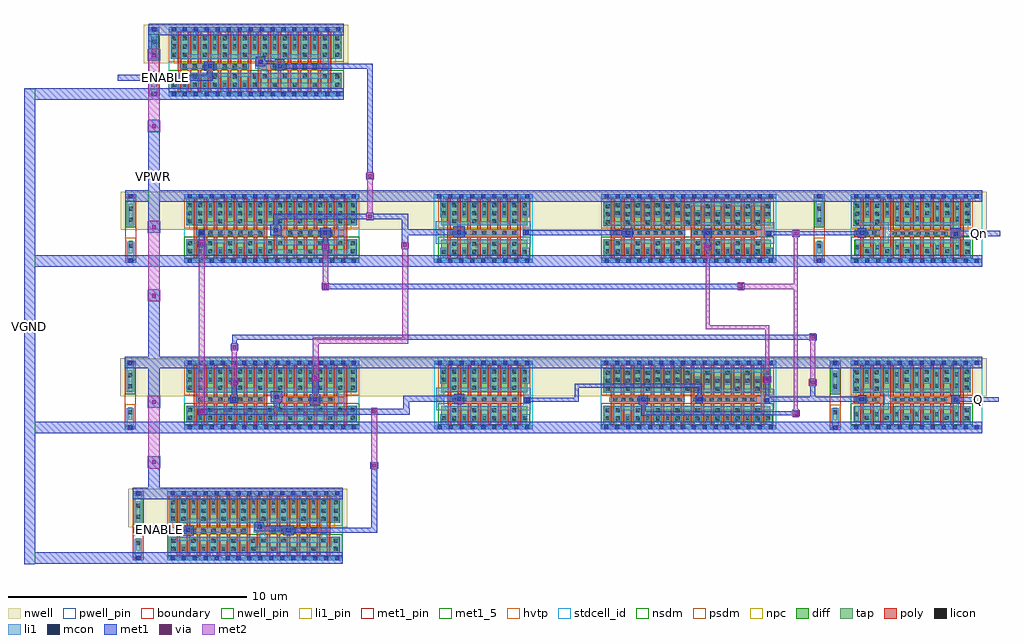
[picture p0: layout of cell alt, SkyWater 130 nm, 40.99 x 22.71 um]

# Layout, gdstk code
import gdstk
lib = gdstk.Library(unit=1e-6, precision=1e-09)
def R(c, l, rs):  # rectangles x0, y0, x1, y1
    for r in rs: c.add(gdstk.rectangle(r[:2], r[2:], *l))
def A(c, l, x, y, w, h, nx, ny, dx, dy):  # array of equal rectangles
    R(c, l, [(x+i*dx, y+j*dy, x+i*dx+w, y+j*dy+h) for i in range(nx) for j in range(ny)])
nwell_pin = (64, 16)
nwell = (64, 20)
diff = (65, 20)
tap = (65, 44)
poly = (66, 20)
licon = (66, 44)
li1_pin = (67, 16)
li1 = (67, 20)
mcon = (67, 44)
met1_5 = (68, 5)
met1_pin = (68, 16)
met1 = (68, 20)
via = (68, 44)
met2 = (69, 20)
hvtp = (78, 44)
stdcell_id = (81, 4)
nsdm = (93, 44)
psdm = (94, 20)
npc = (95, 20)
pwell_pin = (122, 16)
boundary = (235, 4)

sky130_fd_sc_hd__nand2_8 = lib.new_cell('sky130_fd_sc_hd__nand2_8')
R(sky130_fd_sc_hd__nand2_8, nwell_pin, [(0.15,2.635,0.32,2.805)])
R(sky130_fd_sc_hd__nand2_8, nwell, [(-0.19,1.305,7.55,2.91)])
R(sky130_fd_sc_hd__nand2_8, diff, [(0.135,0.235,7.225,0.885), (0.135,1.485,7.225,2.485)])
A(sky130_fd_sc_hd__nand2_8, poly, 0.395, 0.105, 0.15, 0.92, 16, 1, 0.42, 0)
A(sky130_fd_sc_hd__nand2_8, poly, 0.395, 1.295, 0.15, 1.32, 16, 1, 0.42, 0)
R(sky130_fd_sc_hd__nand2_8, poly, [(0.395,1.025,3.485,1.295), (3.755,1.025,6.845,1.295)])
A(sky130_fd_sc_hd__nand2_8, licon, 0.175, 0.315, 0.17, 0.17, 9, 1, 0.42, 0)
A(sky130_fd_sc_hd__nand2_8, licon, 4.375, 0.315, 0.17, 0.17, 3, 1, 0.84, 0)
A(sky130_fd_sc_hd__nand2_8, licon, 0.175, 0.655, 0.17, 0.17, 5, 1, 0.84, 0)
A(sky130_fd_sc_hd__nand2_8, licon, 3.955, 0.655, 0.17, 0.17, 4, 1, 0.84, 0)
A(sky130_fd_sc_hd__nand2_8, licon, 1.015, 1.075, 0.17, 0.17, 6, 1, 0.42, 0)
A(sky130_fd_sc_hd__nand2_8, licon, 4.375, 1.075, 0.17, 0.17, 5, 1, 0.42, 0)
A(sky130_fd_sc_hd__nand2_8, licon, 0.595, 1.575, 0.17, 0.17, 8, 1, 0.84, 0)
A(sky130_fd_sc_hd__nand2_8, licon, 6.995, 1.575, 0.17, 0.17, 1, 3, 0, 0.34)
A(sky130_fd_sc_hd__nand2_8, licon, 0.175, 1.915, 0.17, 0.17, 16, 2, 0.42, 0.34)
R(sky130_fd_sc_hd__nand2_8, licon, [(6.995,0.315,7.165,0.485), (6.995,0.655,7.165,0.825), (0.59,1.075,0.76,1.245), (0.175,1.575,0.345,1.745)])
A(sky130_fd_sc_hd__nand2_8, li1_pin, 0.61, 1.105, 0.17, 0.17, 6, 1, 0.46, 0)
A(sky130_fd_sc_hd__nand2_8, li1_pin, 3.83, 1.105, 0.17, 0.17, 6, 1, 0.46, 0)
R(sky130_fd_sc_hd__nand2_8, li1_pin, [(3.83,1.445,4,1.615)])
A(sky130_fd_sc_hd__nand2_8, li1, 0.595, 0.085, 0.17, 0.48, 4, 1, 0.84, 0)
A(sky130_fd_sc_hd__nand2_8, li1, 0.935, 0.255, 0.33, 0.48, 3, 1, 0.84, 0)
A(sky130_fd_sc_hd__nand2_8, li1, 0.515, 1.665, 0.33, 0.8, 8, 1, 0.84, 0)
A(sky130_fd_sc_hd__nand2_8, li1, 1.015, 1.835, 0.17, 0.8, 7, 1, 0.84, 0)
R(sky130_fd_sc_hd__nand2_8, li1, [(0,-0.085,7.36,0.085), (0.09,0.255,0.425,0.735), (3.455,0.255,7.27,0.485), (3.455,0.485,3.705,0.735), (6.895,0.485,7.27,0.905), (3.875,0.655,6.725,0.905), (0.09,0.735,3.705,0.905), (3.875,0.905,4.12,1.075), (6.475,0.905,6.725,1.465), (0.51,1.075,3.365,1.295), (3.64,1.075,4.12,1.465), (4.29,1.075,6.305,1.275), (0.515,1.465,6.725,1.665), (0.09,1.495,0.345,2.635), (6.915,1.495,7.27,2.635), (0,2.635,7.36,2.805)])
A(sky130_fd_sc_hd__nand2_8, mcon, 0.145, -0.085, 0.17, 0.17, 16, 2, 0.46, 2.72)
R(sky130_fd_sc_hd__nand2_8, met1_pin, [(0.15,-0.085,0.32,0.085), (0.15,2.635,0.32,2.805)])
R(sky130_fd_sc_hd__nand2_8, met1, [(0,-0.24,7.36,0.24), (0,2.48,7.36,2.96)])
R(sky130_fd_sc_hd__nand2_8, hvtp, [(0.215,1.305,7.025,2.665)])
R(sky130_fd_sc_hd__nand2_8, stdcell_id, [(0,0,7.36,2.72)])
R(sky130_fd_sc_hd__nand2_8, nsdm, [(0.01,0.11,7.35,1.01)])
R(sky130_fd_sc_hd__nand2_8, psdm, [(0.01,1.36,7.35,2.61)])
R(sky130_fd_sc_hd__nand2_8, npc, [(0.49,0.975,3.385,1.345), (4.275,0.975,6.325,1.345)])
R(sky130_fd_sc_hd__nand2_8, pwell_pin, [(0.15,-0.085,0.32,0.085)])
R(sky130_fd_sc_hd__nand2_8, boundary, [(0,0,7.36,2.72)])
sky130_fd_sc_hd__nand2_8.add(gdstk.Label('VNB', (0.235,0), layer=64, texttype=59))
sky130_fd_sc_hd__nand2_8.add(gdstk.Label('VPB', (0.235,2.72), layer=64, texttype=5))
sky130_fd_sc_hd__nand2_8.add(gdstk.Label('VGND', (0.235,0), layer=68, texttype=5))
sky130_fd_sc_hd__nand2_8.add(gdstk.Label('VPWR', (0.235,2.72), layer=68, texttype=5))
sky130_fd_sc_hd__nand2_8.add(gdstk.Label('A', (5.755,1.19), layer=67, texttype=5))
sky130_fd_sc_hd__nand2_8.add(gdstk.Label('A', (6.215,1.19), layer=67, texttype=5))
sky130_fd_sc_hd__nand2_8.add(gdstk.Label('A', (4.375,1.19), layer=67, texttype=5))
sky130_fd_sc_hd__nand2_8.add(gdstk.Label('A', (4.835,1.19), layer=67, texttype=5))
sky130_fd_sc_hd__nand2_8.add(gdstk.Label('A', (5.295,1.19), layer=67, texttype=5))
sky130_fd_sc_hd__nand2_8.add(gdstk.Label('Y', (3.915,1.19), layer=67, texttype=5))
sky130_fd_sc_hd__nand2_8.add(gdstk.Label('Y', (3.915,1.53), layer=67, texttype=5))
sky130_fd_sc_hd__nand2_8.add(gdstk.Label('B', (1.615,1.19), layer=67, texttype=5))
sky130_fd_sc_hd__nand2_8.add(gdstk.Label('B', (2.075,1.19), layer=67, texttype=5))
sky130_fd_sc_hd__nand2_8.add(gdstk.Label('B', (2.535,1.19), layer=67, texttype=5))
sky130_fd_sc_hd__nand2_8.add(gdstk.Label('B', (0.695,1.19), layer=67, texttype=5))
sky130_fd_sc_hd__nand2_8.add(gdstk.Label('B', (1.155,1.19), layer=67, texttype=5))
sky130_fd_sc_hd__nand2_8.add(gdstk.Label('B', (2.995,1.19), layer=67, texttype=5))

sky130_fd_sc_hd__tapvpwr = lib.new_cell('sky130_fd_sc_hd__tapvpwrvgnd_1')
R(sky130_fd_sc_hd__tapvpwr, nwell, [(-0.19,1.305,0.65,2.91)])
R(sky130_fd_sc_hd__tapvpwr, tap, [(0.145,0.32,0.315,0.845), (0.145,1.525,0.315,2.4)])
R(sky130_fd_sc_hd__tapvpwr, licon, [(0.145,0.555,0.315,0.725), (0.145,1.645,0.315,1.815), (0.145,2.11,0.315,2.28)])
R(sky130_fd_sc_hd__tapvpwr, li1, [(0,-0.085,0.46,0.085), (0.085,0.085,0.375,0.81), (0.085,1.47,0.375,2.635), (0,2.635,0.46,2.805)])
R(sky130_fd_sc_hd__tapvpwr, mcon, [(0.145,-0.085,0.315,0.085), (0.145,2.635,0.315,2.805)])
R(sky130_fd_sc_hd__tapvpwr, met1_pin, [(0.105,-0.09,0.36,0.1), (0.11,2.62,0.375,2.765)])
R(sky130_fd_sc_hd__tapvpwr, met1, [(0,-0.24,0.46,0.24), (0,2.48,0.46,2.96)])
R(sky130_fd_sc_hd__tapvpwr, nsdm, [(0.02,1.4,0.44,2.525)])
R(sky130_fd_sc_hd__tapvpwr, psdm, [(0.02,0.195,0.44,0.97)])
R(sky130_fd_sc_hd__tapvpwr, boundary, [(0,0,0.46,2.72)])
sky130_fd_sc_hd__tapvpwr.add(gdstk.Label('VPWR', (0.242,2.692), layer=68, texttype=5))
sky130_fd_sc_hd__tapvpwr.add(gdstk.Label('VGND', (0.232,0.005), layer=68, texttype=5))

sky130_fd_sc_hd__inv_8 = lib.new_cell('sky130_fd_sc_hd__inv_8')
R(sky130_fd_sc_hd__inv_8, nwell_pin, [(0.145,2.635,0.315,2.805)])
R(sky130_fd_sc_hd__inv_8, nwell, [(-0.19,1.305,4.33,2.91)])
R(sky130_fd_sc_hd__inv_8, diff, [(0.3,0.235,3.91,0.885), (0.3,1.485,3.91,2.485)])
A(sky130_fd_sc_hd__inv_8, poly, 0.56, 0.105, 0.15, 0.89, 8, 1, 0.42, 0)
A(sky130_fd_sc_hd__inv_8, poly, 0.56, 1.325, 0.15, 1.29, 8, 1, 0.42, 0)
R(sky130_fd_sc_hd__inv_8, poly, [(0.56,0.995,3.65,1.325)])
A(sky130_fd_sc_hd__inv_8, licon, 0.34, 0.295, 0.17, 0.17, 9, 2, 0.42, 1.62)
A(sky130_fd_sc_hd__inv_8, licon, 0.76, 0.635, 0.17, 0.17, 4, 2, 0.84, 0.94)
A(sky130_fd_sc_hd__inv_8, licon, 0.76, 1.075, 0.17, 0.17, 7, 1, 0.42, 0)
A(sky130_fd_sc_hd__inv_8, licon, 0.34, 2.255, 0.17, 0.17, 9, 1, 0.42, 0)
A(sky130_fd_sc_hd__inv_8, li1_pin, 1.065, 1.105, 0.17, 0.17, 7, 1, 0.46, 0)
R(sky130_fd_sc_hd__inv_8, li1_pin, [(0.145,1.105,0.315,1.275)])
A(sky130_fd_sc_hd__inv_8, li1, 1.18, 0.085, 0.17, 0.46, 3, 1, 0.84, 0)
A(sky130_fd_sc_hd__inv_8, li1, 0.68, 0.255, 0.33, 0.46, 4, 1, 0.84, 0)
A(sky130_fd_sc_hd__inv_8, li1, 0.68, 1.665, 0.33, 0.8, 4, 1, 0.84, 0)
A(sky130_fd_sc_hd__inv_8, li1, 1.18, 1.835, 0.17, 0.8, 3, 1, 0.84, 0)
R(sky130_fd_sc_hd__inv_8, li1, [(0,-0.085,4.14,0.085), (0.255,0.085,0.51,0.545), (3.7,0.085,4.005,0.545), (0.085,0.715,4.055,0.905), (0.085,0.905,0.43,1.495), (3.735,0.905,4.055,1.495), (0.68,1.075,3.535,1.325), (0.085,1.495,4.055,1.665), (0.255,1.835,0.51,2.635), (3.7,1.835,4,2.635), (0,2.635,4.14,2.805)])
A(sky130_fd_sc_hd__inv_8, mcon, 0.145, -0.085, 0.17, 0.17, 9, 2, 0.46, 2.72)
R(sky130_fd_sc_hd__inv_8, met1_pin, [(0.145,-0.085,0.315,0.085), (0.145,2.635,0.315,2.805)])
R(sky130_fd_sc_hd__inv_8, met1, [(0,-0.24,4.14,0.24), (0,2.48,4.14,2.96)])
R(sky130_fd_sc_hd__inv_8, hvtp, [(0.38,1.305,3.83,2.665)])
R(sky130_fd_sc_hd__inv_8, stdcell_id, [(0,0,4.14,2.72)])
R(sky130_fd_sc_hd__inv_8, nsdm, [(0.175,0.11,4.035,1.01)])
R(sky130_fd_sc_hd__inv_8, psdm, [(0.175,1.36,4.035,2.61)])
R(sky130_fd_sc_hd__inv_8, npc, [(0.66,0.975,3.55,1.345)])
R(sky130_fd_sc_hd__inv_8, pwell_pin, [(0.145,-0.085,0.315,0.085)])
R(sky130_fd_sc_hd__inv_8, boundary, [(0,0,4.14,2.72)])
sky130_fd_sc_hd__inv_8.add(gdstk.Label('VNB', (0.23,0), layer=64, texttype=59))
sky130_fd_sc_hd__inv_8.add(gdstk.Label('VPB', (0.23,2.72), layer=64, texttype=5))
sky130_fd_sc_hd__inv_8.add(gdstk.Label('VGND', (0.23,0), layer=68, texttype=5))
sky130_fd_sc_hd__inv_8.add(gdstk.Label('VPWR', (0.23,2.72), layer=68, texttype=5))
sky130_fd_sc_hd__inv_8.add(gdstk.Label('Y', (0.23,1.19), layer=67, texttype=5))
sky130_fd_sc_hd__inv_8.add(gdstk.Label('Y', (3.91,1.19), layer=67, texttype=5))
sky130_fd_sc_hd__inv_8.add(gdstk.Label('A', (3.45,1.19), layer=67, texttype=5))
sky130_fd_sc_hd__inv_8.add(gdstk.Label('A', (2.99,1.19), layer=67, texttype=5))
sky130_fd_sc_hd__inv_8.add(gdstk.Label('A', (2.53,1.19), layer=67, texttype=5))
sky130_fd_sc_hd__inv_8.add(gdstk.Label('A', (2.07,1.19), layer=67, texttype=5))
sky130_fd_sc_hd__inv_8.add(gdstk.Label('A', (1.61,1.19), layer=67, texttype=5))
sky130_fd_sc_hd__inv_8.add(gdstk.Label('A', (1.15,1.19), layer=67, texttype=5))

sky130_fd_sc_hd__nor2_8 = lib.new_cell('sky130_fd_sc_hd__nor2_8')
R(sky130_fd_sc_hd__nor2_8, nwell_pin, [(0.145,2.635,0.315,2.805)])
R(sky130_fd_sc_hd__nor2_8, nwell, [(-0.19,1.305,7.55,2.91)])
R(sky130_fd_sc_hd__nor2_8, diff, [(0.135,0.235,7.125,0.885), (0.135,1.485,7.135,2.485)])
A(sky130_fd_sc_hd__nor2_8, poly, 0.415, 0.105, 0.15, 0.89, 16, 1, 0.42, 0)
A(sky130_fd_sc_hd__nor2_8, poly, 0.415, 1.325, 0.15, 1.29, 16, 1, 0.42, 0)
R(sky130_fd_sc_hd__nor2_8, poly, [(0.415,0.995,3.505,1.325), (3.775,0.995,6.865,1.325)])
A(sky130_fd_sc_hd__nor2_8, licon, 0.195, 0.305, 0.17, 0.17, 17, 1, 0.42, 0)
A(sky130_fd_sc_hd__nor2_8, licon, 0.615, 0.645, 0.17, 0.17, 8, 1, 0.84, 0)
A(sky130_fd_sc_hd__nor2_8, licon, 0.515, 1.075, 0.17, 0.17, 9, 1, 0.34, 0)
A(sky130_fd_sc_hd__nor2_8, licon, 3.89, 1.075, 0.17, 0.17, 8, 1, 0.34, 0)
A(sky130_fd_sc_hd__nor2_8, licon, 0.195, 1.535, 0.17, 0.17, 5, 2, 0.84, 0.34)
A(sky130_fd_sc_hd__nor2_8, licon, 3.975, 1.535, 0.17, 0.17, 4, 1, 0.84, 0)
A(sky130_fd_sc_hd__nor2_8, licon, 3.975, 1.875, 0.17, 0.17, 8, 1, 0.42, 0)
A(sky130_fd_sc_hd__nor2_8, licon, 0.615, 1.915, 0.17, 0.17, 4, 2, 0.84, 0.34)
A(sky130_fd_sc_hd__nor2_8, licon, 0.195, 2.215, 0.17, 0.17, 9, 1, 0.84, 0)
R(sky130_fd_sc_hd__nor2_8, licon, [(0.195,0.645,0.365,0.815)])
R(sky130_fd_sc_hd__nor2_8, li1_pin, [(0.605,1.105,0.775,1.275), (4.745,1.105,4.915,1.275), (7.045,1.445,7.215,1.615)])
A(sky130_fd_sc_hd__nor2_8, li1, 1.035, 0.085, 0.17, 0.47, 7, 1, 0.84, 0)
A(sky130_fd_sc_hd__nor2_8, li1, 0.535, 0.255, 0.33, 0.47, 8, 1, 0.84, 0)
A(sky130_fd_sc_hd__nor2_8, li1, 3.935, 1.615, 0.25, 0.51, 4, 1, 0.84, 0)
A(sky130_fd_sc_hd__nor2_8, li1, 0.995, 1.665, 0.25, 0.8, 3, 1, 0.84, 0)
A(sky130_fd_sc_hd__nor2_8, li1, 4.355, 1.785, 0.25, 0.51, 4, 1, 0.84, 0)
A(sky130_fd_sc_hd__nor2_8, li1, 0.575, 1.835, 0.25, 0.8, 4, 1, 0.84, 0)
R(sky130_fd_sc_hd__nor2_8, li1, [(0,-0.085,7.36,0.085), (0.09,0.085,0.365,0.905), (6.915,0.085,7.205,0.555), (0.535,0.725,7.275,0.905), (6.71,0.905,7.275,1.445), (0.36,1.075,3.53,1.275), (3.8,1.075,6.54,1.275), (3.935,1.445,7.275,1.615), (0.09,1.455,3.765,1.665), (0.09,1.665,0.405,2.465), (3.515,1.665,3.765,2.295), (3.515,2.295,7.125,2.465), (0,2.635,7.36,2.805)])
A(sky130_fd_sc_hd__nor2_8, mcon, 0.145, -0.085, 0.17, 0.17, 16, 2, 0.46, 2.72)
R(sky130_fd_sc_hd__nor2_8, met1_pin, [(0.145,-0.085,0.315,0.085), (0.145,2.635,0.315,2.805)])
R(sky130_fd_sc_hd__nor2_8, met1, [(0,-0.24,7.36,0.24), (0,2.48,7.36,2.96)])
R(sky130_fd_sc_hd__nor2_8, hvtp, [(0.235,1.305,7.045,2.665)])
R(sky130_fd_sc_hd__nor2_8, stdcell_id, [(0,0,7.36,2.72)])
R(sky130_fd_sc_hd__nor2_8, nsdm, [(0.01,0.11,7.25,1.01)])
R(sky130_fd_sc_hd__nor2_8, psdm, [(0.01,1.36,7.26,2.61)])
R(sky130_fd_sc_hd__nor2_8, npc, [(0.415,0.975,3.505,1.345), (3.79,0.975,6.54,1.345)])
R(sky130_fd_sc_hd__nor2_8, pwell_pin, [(0.145,-0.085,0.315,0.085)])
R(sky130_fd_sc_hd__nor2_8, boundary, [(0,0,7.36,2.72)])
sky130_fd_sc_hd__nor2_8.add(gdstk.Label('VPB', (0.23,2.72), layer=64, texttype=5))
sky130_fd_sc_hd__nor2_8.add(gdstk.Label('VNB', (0.23,0), layer=64, texttype=59))
sky130_fd_sc_hd__nor2_8.add(gdstk.Label('VGND', (0.23,0), layer=68, texttype=5))
sky130_fd_sc_hd__nor2_8.add(gdstk.Label('VPWR', (0.23,2.72), layer=68, texttype=5))
sky130_fd_sc_hd__nor2_8.add(gdstk.Label('A', (0.69,1.19), layer=67, texttype=5))
sky130_fd_sc_hd__nor2_8.add(gdstk.Label('B', (4.83,1.19), layer=67, texttype=5))
sky130_fd_sc_hd__nor2_8.add(gdstk.Label('Y', (7.13,1.53), layer=67, texttype=5))

sky130_fd_sc_hd__buf_8 = lib.new_cell('sky130_fd_sc_hd__buf_8')
R(sky130_fd_sc_hd__buf_8, nwell_pin, [(0.15,2.635,0.32,2.805)])
R(sky130_fd_sc_hd__buf_8, nwell, [(-0.19,1.305,5.71,2.91)])
R(sky130_fd_sc_hd__buf_8, diff, [(0.135,0.235,5.005,0.885), (0.135,1.485,5.005,2.485)])
A(sky130_fd_sc_hd__buf_8, poly, 0.815, 0.105, 0.15, 0.92, 10, 1, 0.42, 0)
A(sky130_fd_sc_hd__buf_8, poly, 0.815, 1.295, 0.15, 1.32, 10, 1, 0.42, 0)
R(sky130_fd_sc_hd__buf_8, poly, [(0.395,0.105,0.545,1.015), (0.14,1.015,0.545,1.025), (0.14,1.025,1.385,1.295), (1.655,1.025,4.745,1.295), (0.14,1.295,0.545,1.305), (0.395,1.305,0.545,2.615)])
A(sky130_fd_sc_hd__buf_8, licon, 0.595, 0.315, 0.17, 0.17, 5, 1, 0.84, 0)
A(sky130_fd_sc_hd__buf_8, licon, 0.175, 0.475, 0.17, 0.17, 6, 1, 0.84, 0)
A(sky130_fd_sc_hd__buf_8, licon, 0.22, 1.075, 0.17, 0.17, 3, 1, 0.34, 0)
A(sky130_fd_sc_hd__buf_8, licon, 1.755, 1.075, 0.17, 0.17, 7, 1, 0.34, 0)
A(sky130_fd_sc_hd__buf_8, licon, 0.175, 1.545, 0.17, 0.17, 1, 3, 0, 0.34)
A(sky130_fd_sc_hd__buf_8, licon, 1.015, 1.545, 0.17, 0.17, 1, 3, 0, 0.34)
A(sky130_fd_sc_hd__buf_8, licon, 1.855, 1.67, 0.17, 0.17, 4, 2, 0.84, 0.475)
A(sky130_fd_sc_hd__buf_8, licon, 0.595, 1.915, 0.17, 0.17, 6, 2, 0.84, 0.34)
R(sky130_fd_sc_hd__buf_8, licon, [(4.795,0.295,4.965,0.465), (4.795,0.635,4.965,0.805), (4.795,1.575,4.965,1.745)])
A(sky130_fd_sc_hd__buf_8, li1_pin, 4.29, 0.765, 0.17, 0.17, 1, 3, 0, 0.34)
A(sky130_fd_sc_hd__buf_8, li1_pin, 0.15, 1.105, 0.17, 0.17, 3, 1, 0.46, 0)
R(sky130_fd_sc_hd__buf_8, li1_pin, [(0.15,-0.085,0.32,0.085), (0.15,2.635,0.32,2.805)])
A(sky130_fd_sc_hd__buf_8, li1, 0.515, 0.085, 0.33, 0.48, 5, 1, 0.84, 0)
A(sky130_fd_sc_hd__buf_8, li1, 1.855, 0.255, 0.17, 0.48, 4, 1, 0.84, 0)
A(sky130_fd_sc_hd__buf_8, li1, 1.855, 1.615, 0.17, 0.85, 4, 1, 0.84, 0)
A(sky130_fd_sc_hd__buf_8, li1, 2.195, 1.835, 0.33, 0.8, 3, 1, 0.84, 0)
R(sky130_fd_sc_hd__buf_8, li1, [(0,-0.085,5.52,0.085), (4.715,0.085,5.045,0.885), (0.175,0.255,0.345,0.735), (1.015,0.26,1.185,0.735), (0.175,0.735,1.595,0.905), (1.855,0.735,4.545,0.905), (1.42,0.905,1.595,1.075), (4.29,0.905,4.545,1.445), (0.14,1.075,1.24,1.275), (1.42,1.075,4.045,1.245), (1.42,1.245,1.595,1.445), (0.095,1.445,1.595,1.615), (1.855,1.445,4.545,1.615), (4.715,1.485,5.045,2.635), (0.095,1.615,0.425,2.465), (0.935,1.615,1.265,2.465), (0.595,1.835,0.765,2.635), (1.435,1.835,1.605,2.635), (0,2.635,5.52,2.805)])
A(sky130_fd_sc_hd__buf_8, mcon, 0.145, -0.085, 0.17, 0.17, 12, 2, 0.46, 2.72)
R(sky130_fd_sc_hd__buf_8, met1_pin, [(0.15,-0.085,0.32,0.085), (0.15,2.635,0.32,2.805)])
R(sky130_fd_sc_hd__buf_8, met1, [(0,-0.24,5.52,0.24), (0,2.48,5.52,2.96)])
R(sky130_fd_sc_hd__buf_8, hvtp, [(0.215,1.305,4.925,2.665)])
R(sky130_fd_sc_hd__buf_8, stdcell_id, [(0,0,5.52,2.72)])
R(sky130_fd_sc_hd__buf_8, nsdm, [(0.01,0.11,5.13,1.01)])
R(sky130_fd_sc_hd__buf_8, psdm, [(0.01,1.36,5.13,2.61)])
R(sky130_fd_sc_hd__buf_8, npc, [(0.12,0.975,1.17,1.345), (1.655,0.975,4.065,1.345)])
R(sky130_fd_sc_hd__buf_8, pwell_pin, [(0.15,-0.085,0.32,0.085)])
R(sky130_fd_sc_hd__buf_8, boundary, [(0,0,5.52,2.72)])
sky130_fd_sc_hd__buf_8.add(gdstk.Label('VPB', (0.235,2.72), layer=64, texttype=5))
sky130_fd_sc_hd__buf_8.add(gdstk.Label('VNB', (0.235,0), layer=64, texttype=59))
sky130_fd_sc_hd__buf_8.add(gdstk.Label('VGND', (0.235,0), layer=68, texttype=5))
sky130_fd_sc_hd__buf_8.add(gdstk.Label('VGND', (0.235,0), layer=67, texttype=5))
sky130_fd_sc_hd__buf_8.add(gdstk.Label('VPWR', (0.235,2.72), layer=68, texttype=5))
sky130_fd_sc_hd__buf_8.add(gdstk.Label('VPWR', (0.235,2.72), layer=67, texttype=5))
sky130_fd_sc_hd__buf_8.add(gdstk.Label('A', (0.235,1.19), layer=67, texttype=5))
sky130_fd_sc_hd__buf_8.add(gdstk.Label('A', (0.695,1.19), layer=67, texttype=5))
sky130_fd_sc_hd__buf_8.add(gdstk.Label('A', (1.155,1.19), layer=67, texttype=5))
sky130_fd_sc_hd__buf_8.add(gdstk.Label('X', (4.375,1.53), layer=67, texttype=5))
sky130_fd_sc_hd__buf_8.add(gdstk.Label('X', (4.375,1.19), layer=67, texttype=5))
sky130_fd_sc_hd__buf_8.add(gdstk.Label('X', (4.375,0.85), layer=67, texttype=5))

alt = lib.new_cell('alt')
R(alt, nwell, [(-13.93,-14.145,-11.105,-12.54), (-13.98,-8.655,-10.395,-8.21), (-10.22,-8.655,-6.13,-7.05), (-5.865,-8.655,16.54,-7.05), (-14.5,-8.21,-10.395,-7.37), (-13.98,-7.37,-10.395,-7.05), (-14.38,-1.655,-10.395,-0.05), (-5.865,-1.655,17.75,-0.05)])
R(alt, li1, [(-11.76,-14.375,-11.505,-14.155), (-7.555,-14.375,-7.305,-14.175), (-8.74,-14.22,-8.55,-14.04), (12.595,-8.895,12.765,-8.725), (20.51,-8.89,20.69,-8.69), (-6.425,-8.885,-6.175,-8.685), (-0.38,-8.885,-0.13,-8.635), (2.525,-8.885,2.695,-8.715), (7.395,-8.885,7.565,-8.685), (9.75,-8.885,9.92,-8.685), (16.57,-8.885,16.74,-8.685), (-9.795,-8.855,-9.625,-8.685), (-8.05,-8.78,-7.81,-8.56), (20.5,-1.93,20.71,-1.7), (12.68,-1.89,12.85,-1.72), (-11.175,-1.885,-10.985,-1.695), (-6.005,-1.885,-5.755,-1.685), (-0.39,-1.885,-0.14,-1.635), (6.725,-1.885,6.895,-1.685), (10.1,-1.885,10.27,-1.685), (16.58,-1.885,16.75,-1.685), (2.49,-1.865,2.66,-1.695), (-8.07,-1.78,-7.85,-1.56), (-10.865,5.115,-10.615,5.335), (-7.925,5.115,-7.675,5.315), (-8.7,5.3,-8.5,5.5)])
R(alt, mcon, [(-7.515,-14.36,-7.345,-14.19), (-11.72,-14.35,-11.55,-14.18), (-8.73,-14.215,-8.56,-14.045), (12.595,-8.895,12.765,-8.725), (2.525,-8.885,2.695,-8.715), (20.515,-8.875,20.685,-8.705), (-6.385,-8.87,-6.215,-8.7), (7.395,-8.87,7.565,-8.7), (9.75,-8.87,9.92,-8.7), (16.57,-8.87,16.74,-8.7), (-9.795,-8.855,-9.625,-8.685), (-0.34,-8.845,-0.17,-8.675), (-8.015,-8.755,-7.845,-8.585), (20.52,-1.9,20.69,-1.73), (12.68,-1.89,12.85,-1.72), (-11.165,-1.875,-10.995,-1.705), (-5.965,-1.87,-5.795,-1.7), (6.725,-1.87,6.895,-1.7), (10.1,-1.87,10.27,-1.7), (16.58,-1.87,16.75,-1.7), (2.49,-1.865,2.66,-1.695), (-0.35,-1.845,-0.18,-1.675), (-8.045,-1.755,-7.875,-1.585), (-7.885,5.13,-7.715,5.3), (-10.825,5.14,-10.655,5.31), (-8.685,5.315,-8.515,5.485)])
R(alt, met1_5, [(-18.54,-15.71,-18.06,4.26), (-13.935,-14.375,-11.76,-14.16), (20.69,-8.89,22.4,-8.69), (20.71,-1.93,22.455,-1.7), (-13.32,-1.31,-12.84,2.45), (-14.605,4.61,-10.62,4.86)])
R(alt, met1, [(-18.54,-15.71,-18.06,-15.69), (-18.54,-15.69,-12.375,-15.645), (-18.54,-15.645,-12.295,-15.525), (-18.54,-15.525,-12.29,-15.21), (-18.54,-15.21,-18.06,-10.2), (-11.85,-14.5,-11.41,-14.375), (-7.66,-14.49,-7.2,-14.375), (-13.935,-14.375,-11.41,-14.16), (-7.66,-14.375,-3.705,-14.31), (-8.84,-14.31,-3.705,-14.18), (-8.84,-14.18,-7.2,-14.09), (-3.955,-14.18,-3.705,-11.69), (-11.85,-14.16,-11.41,-14.08), (-8.84,-14.09,-8.47,-13.94), (-13.79,-12.97,-12.365,-12.85), (-13.79,-12.85,-12.185,-12.73), (-13.835,-12.73,-12.185,-12.655), (-13.835,-12.655,-12.125,-12.575), (-13.675,-12.575,-12.125,-12.5), (-13.32,-12.5,-12.84,-11.66), (-3.99,-11.69,-3.67,-11.43), (-13.35,-11.66,-12.81,-11.18), (-18.54,-10.2,-11.655,-10.045), (-4.605,-10.2,-0.925,-10.045), (2.67,-10.2,5.955,-10.085), (12.965,-10.195,16.395,-10.085), (2.67,-10.085,16.485,-10.045), (-18.54,-10.045,-11.645,-9.89), (-4.485,-10.045,-1.31,-10.035), (2.745,-10.045,16.485,-9.93), (-4.565,-10.035,-1.295,-9.88), (2.745,-9.93,5.745,-9.88), (12.965,-9.93,16.24,-9.725), (-18.54,-9.89,-11.715,-9.725), (-4.655,-9.88,-1.245,-9.725), (2.615,-9.88,5.745,-9.725), (-18.54,-9.725,-18.06,-3.2), (13.72,-9.495,14.04,-9.455), (7.395,-9.47,7.57,-9.455), (7.395,-9.455,14.04,-9.28), (-11.24,-9.425,-10.92,-9.42), (-3.99,-9.425,-3.67,-9.42), (-11.24,-9.42,-2.345,-9.17), (7.395,-9.28,7.57,-9), (13.72,-9.28,14.04,-9.235), (-11.24,-9.17,-10.92,-9.165), (-8.05,-9.17,-7.8,-8.9), (-3.99,-9.17,-3.67,-9.165), (-2.605,-9.17,-2.35,-8.885), (-13.35,-9.13,-12.81,-8.65), (-6.53,-9.02,-6.09,-8.57), (7.28,-9,7.66,-8.62), (-0.47,-8.98,-0.04,-8.885), (20.41,-8.97,20.77,-8.89), (12.565,-8.955,12.795,-8.885), (16.5,-8.95,16.83,-8.885), (9.68,-8.94,9.98,-8.61), (-9.88,-8.93,-9.57,-8.6), (2.465,-8.915,2.755,-8.885), (-8.17,-8.9,-7.7,-8.45), (20.41,-8.89,22.4,-8.69), (-2.605,-8.885,-0.04,-8.63), (2.465,-8.885,4.755,-8.715), (12.565,-8.885,16.83,-8.68), (2.465,-8.715,2.755,-8.685), (4.585,-8.715,4.755,-8.29), (20.41,-8.69,20.77,-8.6), (12.565,-8.68,12.795,-8.665), (14.485,-8.68,14.69,-8.23), (16.5,-8.68,16.83,-8.61), (12.595,-8.665,12.765,-8.06), (-13.32,-8.65,-12.84,-7.475), (-0.47,-8.63,-0.04,-8.55), (9.75,-8.61,9.92,-8.29), (-9.81,-8.6,-9.605,-8.19), (-6.425,-8.57,-6.17,-8.02), (4.585,-8.29,9.92,-8.12), (14.46,-8.23,14.72,-7.91), (-9.835,-8.19,-9.575,-7.87), (12.52,-8.06,12.84,-7.8), (-6.425,-8.02,-6.165,-7.7), (-14.025,-7.475,16.525,-7.34), (-14.055,-7.34,16.61,-7.115), (-14.005,-7.115,16.525,-7), (-13.32,-7,-12.84,-4.16), (-9.86,-6.72,-9.54,-6.46), (-9.8,-6.46,-9.595,-6.27), (14.435,-6.3,14.755,-6.27), (-9.8,-6.27,14.755,-6.065), (14.435,-6.065,14.755,-6.04), (-6.04,-4.16,-5.72,-4.145), (11.42,-4.16,11.74,-4.145), (-6.04,-4.145,11.74,-3.915), (-6.04,-3.915,-5.72,-3.9), (11.42,-3.915,11.74,-3.9), (-18.54,-3.2,-11.525,-3.055), (-4.605,-3.2,16.465,-3.075), (-4.605,-3.075,17.23,-3.045), (-18.54,-3.055,-10.65,-2.815), (-4.49,-3.045,17.23,-2.875), (-4.705,-2.875,17.23,-2.81), (-18.54,-2.815,-11.625,-2.72), (-4.705,-2.81,16.345,-2.72), (-18.54,-2.72,-18.06,3.8), (-6.01,-2.53,-5.75,-2.21), (10.055,-2.52,10.315,-2.2), (-2.665,-2.465,-2.405,-2.145), (-11.24,-2.39,-10.92,-2.13), (-5.995,-2.21,-5.765,-2), (10.1,-2.2,10.27,-2), (-2.665,-2.145,-2.41,-1.885), (-11.205,-2.13,-10.955,-1.635), (20.38,-2.02,20.81,-1.93), (-6.1,-2,-5.65,-1.58), (10.01,-2,10.35,-1.62), (16.49,-2,16.83,-1.895), (-0.52,-1.98,-0.03,-1.885), (6.61,-1.95,7.03,-1.885), (13.725,-1.94,14.045,-1.895), (20.38,-1.93,22.455,-1.7), (12.62,-1.92,12.91,-1.895), (-8.19,-1.9,-7.73,-1.44), (2.43,-1.895,2.72,-1.885), (12.62,-1.895,16.83,-1.72), (-2.665,-1.885,-0.03,-1.63), (2.43,-1.885,7.03,-1.68), (-13.35,-1.79,-12.81,-1.31), (12.62,-1.72,12.91,-1.69), (13.725,-1.72,14.045,-1.68), (16.49,-1.72,16.83,-1.6), (20.38,-1.7,20.81,-1.59), (2.43,-1.68,2.72,-1.665), (6.61,-1.68,7.03,-1.62), (-2.665,-1.63,-2.41,-1.21), (-0.52,-1.63,-0.03,-1.51), (-8.07,-1.44,-7.85,-1.21), (-13.32,-1.31,-12.84,-0.48), (-4.14,-1.26,-3.88,-1.21), (-8.07,-1.21,-2.41,-0.99), (-4.14,-0.99,-3.88,-0.94), (-13.985,-0.48,16.355,-0.325), (-13.92,-0.325,16.355,-0.235), (-13.92,-0.235,16.255,-0.155), (-13.985,-0.155,16.345,-0.105), (-13.985,-0.105,-11.375,0), (-4.845,-0.105,16.345,0), (-13.32,0,-12.84,2.96), (-4.17,0.46,-3.85,0.72), (-4.12,0.72,-3.9,5.115), (-18.54,3.8,-12.315,3.93), (-18.54,3.93,-11.985,4.28), (-14.605,4.61,-10.62,4.86), (-10.87,4.86,-10.62,5.02), (-10.97,5.02,-10.54,5.41), (-7.99,5.05,-7.6,5.115), (-7.99,5.115,-3.9,5.29), (-8.8,5.21,-8.4,5.29), (-8.8,5.29,-3.9,5.32), (-8.8,5.32,-7.6,5.45), (-13.35,5.44,-12.81,5.92), (-8.8,5.45,-8.4,5.61), (-7.99,5.45,-7.6,5.5), (-13.32,5.92,-12.84,6.52), (-13.32,6.52,-11.76,6.9), (-13.075,6.9,-11.76,6.925), (-12.955,6.925,-12.285,7)])
R(alt, via, [(-3.905,-11.635,-3.755,-11.485), (-13.155,-11.495,-13.005,-11.345), (13.805,-9.44,13.955,-9.29), (-11.155,-9.37,-11.005,-9.22), (-3.905,-9.37,-3.755,-9.22), (-13.155,-8.965,-13.005,-8.815), (14.515,-8.145,14.665,-7.995), (-9.78,-8.105,-9.63,-7.955), (12.605,-8.005,12.755,-7.855), (-6.37,-7.935,-6.22,-7.785), (-9.775,-6.665,-9.625,-6.515), (14.52,-6.245,14.67,-6.095), (-13.155,-4.505,-13.005,-4.355), (-5.955,-4.105,-5.805,-3.955), (11.505,-4.105,11.655,-3.955), (-5.955,-2.445,-5.805,-2.295), (10.11,-2.435,10.26,-2.285), (-2.61,-2.38,-2.46,-2.23), (-11.155,-2.335,-11.005,-2.185), (13.81,-1.885,13.96,-1.735), (-13.155,-1.625,-13.005,-1.475), (-4.085,-1.175,-3.935,-1.025), (-4.085,0.515,-3.935,0.665), (-13.155,2.615,-13.005,2.765), (-13.155,5.605,-13.005,5.755)])
R(alt, met2, [(-3.96,-11.72,-3.7,-11.4), (-13.32,-11.69,-12.84,-8.62), (-3.955,-11.4,-3.705,-9.455), (13.75,-9.525,14.01,-9.205), (-11.21,-9.455,-10.95,-9.135), (-3.96,-9.455,-3.7,-9.135), (13.795,-9.205,13.97,-4.145), (-11.205,-9.135,-10.955,-2.42), (14.43,-8.2,14.75,-7.94), (-9.865,-8.16,-9.545,-7.9), (12.55,-8.09,12.81,-7.77), (-6.455,-7.99,-6.135,-7.73), (14.49,-7.94,14.695,-6.33), (-9.805,-7.9,-9.6,-6.75), (12.595,-7.77,12.765,-5.835), (-6.42,-7.73,-6.165,-6.445), (-9.83,-6.75,-9.57,-6.43), (-6.42,-6.445,-2.405,-6.19), (14.465,-6.33,14.725,-6.01), (-6.42,-6.19,-6.165,-6.185), (-2.66,-6.19,-2.405,-2.435), (10.1,-5.835,12.765,-5.665), (10.1,-5.665,10.27,-2.49), (-13.35,-4.67,-12.81,-4.19), (-13.32,-4.19,-12.84,-1.28), (-6.01,-4.19,-5.75,-3.87), (11.45,-4.19,11.71,-4.145), (11.45,-4.145,13.97,-3.915), (11.45,-3.915,11.71,-3.87), (13.795,-3.915,13.97,-1.97), (-5.995,-3.87,-5.765,-2.5), (-6.04,-2.5,-5.72,-2.24), (10.025,-2.49,10.345,-2.23), (-2.695,-2.435,-2.375,-2.175), (-11.21,-2.42,-10.95,-2.1), (13.755,-1.97,14.015,-1.65), (-4.17,-1.23,-3.85,-0.97), (-4.12,-0.97,-3.9,0.43), (-4.14,0.43,-3.88,0.75), (-13.35,2.45,-12.81,2.93), (-13.32,2.93,-12.84,5.95)])
alt.add(gdstk.Reference(sky130_fd_sc_hd__nand2_8, (-12.52,-15.45)))
alt.add(gdstk.Reference(sky130_fd_sc_hd__nand2_8, (-11.81,-9.96)))
alt.add(gdstk.Reference(sky130_fd_sc_hd__tapvpwr, (-14.31,-9.96)))
alt.add(gdstk.Reference(sky130_fd_sc_hd__tapvpwr, (-13.97,-15.45)))
alt.add(gdstk.Reference(sky130_fd_sc_hd__inv_8, (-1.31,-9.96)))
alt.add(gdstk.Reference(sky130_fd_sc_hd__nor2_8, (5.69,-9.96)))
alt.add(gdstk.Reference(sky130_fd_sc_hd__buf_8, (16.18,-9.96)))
alt.add(gdstk.Reference(sky130_fd_sc_hd__tapvpwr, (15.3,-9.97)))
alt.add(gdstk.Reference(sky130_fd_sc_hd__nand2_8, (-11.81,-2.96)))
alt.add(gdstk.Reference(sky130_fd_sc_hd__tapvpwr, (-14.29,-2.96)))
alt.add(gdstk.Reference(sky130_fd_sc_hd__inv_8, (-1.32,-2.96)))
alt.add(gdstk.Reference(sky130_fd_sc_hd__nor2_8, (5.7,-2.96)))
alt.add(gdstk.Reference(sky130_fd_sc_hd__buf_8, (16.19,-2.96)))
alt.add(gdstk.Reference(sky130_fd_sc_hd__tapvpwr, (14.64,-2.96)))
alt.add(gdstk.Reference(sky130_fd_sc_hd__nand2_8, (-12.47,4.04)))
alt.add(gdstk.Reference(sky130_fd_sc_hd__tapvpwr, (-13.31,4.04)))
alt.add(gdstk.Label('VPWR', (-13.08,0.57), layer=68, texttype=5))
alt.add(gdstk.Label('Qn', (21.582,-1.815), layer=68, texttype=5))
alt.add(gdstk.Label('Q', (21.545,-8.79), layer=68, texttype=5))
alt.add(gdstk.Label('ENABLE', (-12.847,-14.267), layer=68, texttype=5))
alt.add(gdstk.Label('ENABLE', (-12.612,4.735), layer=68, texttype=5))
alt.add(gdstk.Label('VGND', (-18.3,-5.725), layer=68, texttype=5))

lib.write_gds('alt.gds')
